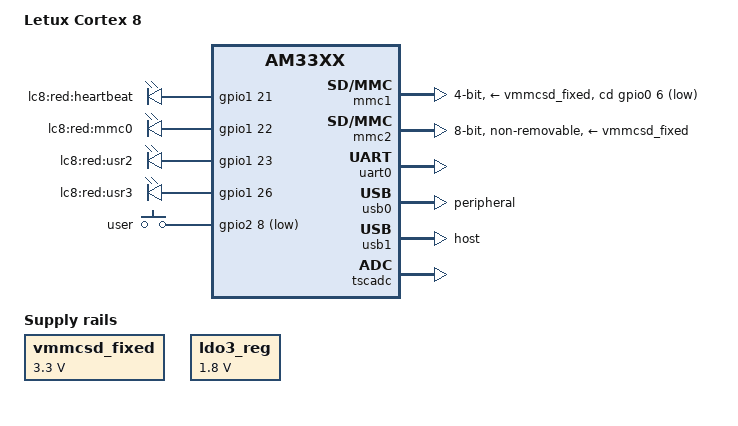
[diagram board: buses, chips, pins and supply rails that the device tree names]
/*
 * Copyright (C) 2016 H. Nikolaus Schaller <hns@goldelico.com>
 *
 * This program is free software; you can redistribute it and/or modify
 * it under the terms of the GNU General Public License version 2 as
 * published by the Free Software Foundation.
 */
/dts-v1/;

#include "am33xx.dtsi"
#include "am335x-osd335x-common.dtsi"
#include <dt-bindings/input/input.h>

/* FIXME:
 * configure external gpios, spi, uart, i2c, adc
 * configure internal buttons
 * configure internal leds
 */

/* FIXME: replace this since we have no P8/P9 connectors! */

// taken from https://github.com/RobertCNelson/dtb-linux-dev/blob/master/src/arm/

#ifndef _DT_BINDINGS_BOARD_AM335X_BBW_BBB_BASE_H
#define _DT_BINDINGS_BOARD_AM335X_BBW_BBB_BASE_H

#define BONE_P8_03 AM335X_PIN_GPMC_AD6
#define BONE_P8_04 AM335X_PIN_GPMC_AD7

#define BONE_P8_05 AM335X_PIN_GPMC_AD2
#define BONE_P8_06 AM335X_PIN_GPMC_AD3
#define BONE_P8_07 AM335X_PIN_GPMC_ADVN_ALE
#define BONE_P8_08 AM335X_PIN_GPMC_OEN_REN

#define BONE_P8_09 AM335X_PIN_GPMC_BEN0_CLE
#define BONE_P8_10 AM335X_PIN_GPMC_WEN
#define BONE_P8_11 AM335X_PIN_GPMC_AD13
#define BONE_P8_12 AM335X_PIN_GPMC_AD12

#define BONE_P8_13 AM335X_PIN_GPMC_AD9
#define BONE_P8_14 AM335X_PIN_GPMC_AD10
#define BONE_P8_15 AM335X_PIN_GPMC_AD15
#define BONE_P8_16 AM335X_PIN_GPMC_AD14

#define BONE_P8_17 AM335X_PIN_GPMC_AD11
#define BONE_P8_18 AM335X_PIN_GPMC_CLK
#define BONE_P8_19 AM335X_PIN_GPMC_AD8
#define BONE_P8_20 AM335X_PIN_GPMC_CSN2

#define BONE_P8_21 AM335X_PIN_GPMC_CSN1
#define BONE_P8_22 AM335X_PIN_GPMC_AD5
#define BONE_P8_23 AM335X_PIN_GPMC_AD4
#define BONE_P8_24 AM335X_PIN_GPMC_AD1

#define BONE_P8_25 AM335X_PIN_GPMC_AD0
#define BONE_P8_26 AM335X_PIN_GPMC_CSN0
#define BONE_P8_27 AM335X_PIN_LCD_VSYNC
#define BONE_P8_28 AM335X_PIN_LCD_PCLK

#define BONE_P8_29 AM335X_PIN_LCD_HSYNC
#define BONE_P8_30 AM335X_PIN_LCD_AC_BIAS_EN
#define BONE_P8_31 AM335X_PIN_LCD_DATA14
#define BONE_P8_32 AM335X_PIN_LCD_DATA15

#define BONE_P8_33 AM335X_PIN_LCD_DATA13
#define BONE_P8_34 AM335X_PIN_LCD_DATA11
#define BONE_P8_35 AM335X_PIN_LCD_DATA12
#define BONE_P8_36 AM335X_PIN_LCD_DATA10

#define BONE_P8_37 AM335X_PIN_LCD_DATA8
#define BONE_P8_38 AM335X_PIN_LCD_DATA9
#define BONE_P8_39 AM335X_PIN_LCD_DATA6
#define BONE_P8_40 AM335X_PIN_LCD_DATA7

#define BONE_P8_41 AM335X_PIN_LCD_DATA4
#define BONE_P8_42 AM335X_PIN_LCD_DATA5
#define BONE_P8_43 AM335X_PIN_LCD_DATA2
#define BONE_P8_44 AM335X_PIN_LCD_DATA3

#define BONE_P8_45 AM335X_PIN_LCD_DATA0
#define BONE_P8_46 AM335X_PIN_LCD_DATA1

#define BONE_P9_11 AM335X_PIN_GPMC_WAIT0
#define BONE_P9_12 AM335X_PIN_GPMC_BEN1

#define BONE_P9_13 AM335X_PIN_GPMC_WPN
#define BONE_P9_14 AM335X_PIN_GPMC_A2
#define BONE_P9_15 AM335X_PIN_GPMC_A0
#define BONE_P9_16 AM335X_PIN_GPMC_A3

#define BONE_P9_17 AM335X_PIN_SPI0_CS0
#define BONE_P9_18 AM335X_PIN_SPI0_D1
#define BONE_P9_19 AM335X_PIN_UART1_RTSN
#define BONE_P9_20 AM335X_PIN_UART1_CTSN

#define BONE_P9_21 AM335X_PIN_SPI0_D0
#define BONE_P9_22 AM335X_PIN_SPI0_SCLK
#define BONE_P9_23 AM335X_PIN_GPMC_A1
#define BONE_P9_24 AM335X_PIN_UART1_TXD

#define BONE_P9_25 AM335X_PIN_MCASP0_AHCLKX
#define BONE_P9_26 AM335X_PIN_UART1_RXD
#define BONE_P9_27 AM335X_PIN_MCASP0_FSR
#define BONE_P9_28 AM335X_PIN_MCASP0_AHCLKR

#define BONE_P9_29 AM335X_PIN_MCASP0_FSX
#define BONE_P9_30 AM335X_PIN_MCASP0_AXR0
#define BONE_P9_31 AM335X_PIN_MCASP0_ACLKX

/* Shared P21 of P11 */
#define BONE_P9_41A AM335X_PIN_XDMA_EVENT_INTR1
#define BONE_P9_41B AM335X_PIN_MCASP0_AXR1

/* Shared P22 of P11 */
#define BONE_P9_42A AM335X_PIN_ECAP0_IN_PWM0_OUT
#define BONE_P9_42B AM335X_PIN_MCASP0_ACLKR

#endif


/ {
	/* overwrite device model */
	model = "Letux Cortex 8";
	compatible = "goldelico,lc8", "octavo,osd3358", "ti,am33xx";

	chosen {
		stdout-path = &uart0;
	};

	leds {
		pinctrl-names = "default";
		pinctrl-0 = <&user_leds_s0>;

		compatible = "gpio-leds";

		led2 {
			label = "lc8:red:heartbeat";
			gpios = <&gpio1 21 GPIO_ACTIVE_HIGH>;
			linux,default-trigger = "heartbeat";
			default-state = "off";
		};

		led3 {
			label = "lc8:red:mmc0";
			gpios = <&gpio1 22 GPIO_ACTIVE_HIGH>;
			linux,default-trigger = "mmc0";
			default-state = "off";
		};

		led4 {
			label = "lc8:red:usr2";
			gpios = <&gpio1 23 GPIO_ACTIVE_HIGH>;
			linux,default-trigger = "cpu0";
			default-state = "off";
		};

		led5 {
			label = "lc8:red:usr3";
			gpios = <&gpio1 26 GPIO_ACTIVE_HIGH>;
			linux,default-trigger = "mmc1";
			default-state = "off";
		};
	};

	vmmcsd_fixed: fixedregulator0 {
		compatible = "regulator-fixed";
		regulator-name = "vmmcsd_fixed";
		regulator-min-microvolt = <3300000>;
		regulator-max-microvolt = <3300000>;
	};

	gpio-keys {
		compatible = "gpio-keys";

		pinctrl-names = "default";
		pinctrl-0 = <&button_pins>;

		user-button {
			label = "user";
			linux,code = <KEY_ENTER>;
			gpios = <&gpio2 8 GPIO_ACTIVE_LOW>;
			gpio-key,wakeup;
		};

	};

};

&am33xx_pinmux {

	button_pins: pinmux_button_pins {
		pinctrl-single,pins = <
			AM33XX_PADCONF(0x0a8, PIN_INPUT_PULLUP, MUX_MODE7)	/* KEY_ENTER lcd_data2.gpio2_8, */
		>;
	};

	emmc_pins: pinmux_emmc_pins {
		pinctrl-single,pins = <
			AM33XX_PADCONF(AM335X_PIN_GPMC_CSN1, PIN_INPUT_PULLUP, MUX_MODE2) /* gpmc_csn1.mmc1_clk */
			AM33XX_PADCONF(AM335X_PIN_GPMC_CSN2, PIN_INPUT_PULLUP, MUX_MODE2) /* gpmc_csn2.mmc1_cmd */
			AM33XX_PADCONF(AM335X_PIN_GPMC_AD0, PIN_INPUT_PULLUP, MUX_MODE1) /* gpmc_ad0.mmc1_dat0 */
			AM33XX_PADCONF(AM335X_PIN_GPMC_AD1, PIN_INPUT_PULLUP, MUX_MODE1) /* gpmc_ad1.mmc1_dat1 */
			AM33XX_PADCONF(AM335X_PIN_GPMC_AD2, PIN_INPUT_PULLUP, MUX_MODE1) /* gpmc_ad2.mmc1_dat2 */
			AM33XX_PADCONF(AM335X_PIN_GPMC_AD3, PIN_INPUT_PULLUP, MUX_MODE1) /* gpmc_ad3.mmc1_dat3 */
			AM33XX_PADCONF(AM335X_PIN_GPMC_AD4, PIN_INPUT_PULLUP, MUX_MODE1) /* gpmc_ad4.mmc1_dat4 */
			AM33XX_PADCONF(AM335X_PIN_GPMC_AD5, PIN_INPUT_PULLUP, MUX_MODE1) /* gpmc_ad5.mmc1_dat5 */
			AM33XX_PADCONF(AM335X_PIN_GPMC_AD6, PIN_INPUT_PULLUP, MUX_MODE1) /* gpmc_ad6.mmc1_dat6 */
			AM33XX_PADCONF(AM335X_PIN_GPMC_AD7, PIN_INPUT_PULLUP, MUX_MODE1) /* gpmc_ad7.mmc1_dat7 */
		>;
	};

	i2c1_pins: pinmux_i2c1_pins {
		pinctrl-single,pins = <
			AM33XX_PADCONF(AM335X_PIN_MII1_RX_ER, PIN_INPUT_PULLUP, MUX_MODE3)	// I2C1 SCL
			AM33XX_PADCONF(AM335X_PIN_MII1_CRS, PIN_INPUT_PULLUP, MUX_MODE3)	// I2C1 SDA
		>;
	};

	i2c2_pins: pinmux_i2c2_pins {
		pinctrl-single,pins = <
			AM33XX_PADCONF(BONE_P9_21, PIN_INPUT_PULLUP, MUX_MODE2)	// I2C2 SCL
			AM33XX_PADCONF(BONE_P9_22, PIN_INPUT_PULLUP, MUX_MODE2)	// I2C2 SDA
		>;
	};

	mmc1_pins: pinmux_mmc1_pins {
		pinctrl-single,pins = <
			AM33XX_PADCONF(AM335X_PIN_SPI0_CS1, PIN_INPUT, MUX_MODE7)		/* spio0_cs1.gpio0_6 */
			AM33XX_PADCONF(AM335X_PIN_MMC0_DAT0, PIN_INPUT_PULLUP, MUX_MODE0)
			AM33XX_PADCONF(AM335X_PIN_MMC0_DAT1, PIN_INPUT_PULLUP, MUX_MODE0)
			AM33XX_PADCONF(AM335X_PIN_MMC0_DAT2, PIN_INPUT_PULLUP, MUX_MODE0)
			AM33XX_PADCONF(AM335X_PIN_MMC0_DAT3, PIN_INPUT_PULLUP, MUX_MODE0)
			AM33XX_PADCONF(AM335X_PIN_MMC0_CMD, PIN_INPUT_PULLUP, MUX_MODE0)
			AM33XX_PADCONF(AM335X_PIN_MMC0_CLK, PIN_INPUT_PULLUP, MUX_MODE0)
		>;
	};

	uart0_pins: pinmux_uart0_pins {
		pinctrl-single,pins = <
			AM33XX_PADCONF(AM335X_PIN_UART0_RXD, PIN_INPUT_PULLUP, MUX_MODE0)
			AM33XX_PADCONF(AM335X_PIN_UART0_TXD, PIN_OUTPUT_PULLDOWN, MUX_MODE0)
		>;
	};

	user_leds_s0: user_leds_s0 {
		pinctrl-single,pins = <
			AM33XX_PADCONF(AM335X_PIN_GPMC_A5, PIN_OUTPUT_PULLDOWN, MUX_MODE7)	/* gpmc_a5.gpio1_21 */
			AM33XX_PADCONF(AM335X_PIN_GPMC_A6, PIN_OUTPUT_PULLUP, MUX_MODE7)	/* gpmc_a6.gpio1_22 */
			AM33XX_PADCONF(AM335X_PIN_GPMC_A7, PIN_OUTPUT_PULLDOWN, MUX_MODE7)	/* gpmc_a7.gpio1_23 */
			AM33XX_PADCONF(AM335X_PIN_GPMC_A10, PIN_OUTPUT_PULLUP, MUX_MODE7)	/* gpmc_a10.gpio1_26 */
		>;
	};
};

&i2c1 {
	pinctrl-names = "default";
	pinctrl-0 = <&i2c1_pins>;

	status = "disabled";
	clock-frequency = <400000>;
};

&i2c2 {
	pinctrl-names = "default";
	pinctrl-0 = <&i2c2_pins>;

	status = "disabled";
	clock-frequency = <400000>;
};

/* usually, we have no display connected */
&lcdc {
	status = "disabled";
};

&ldo3_reg {
	regulator-min-microvolt = <1800000>;
	regulator-max-microvolt = <1800000>;
	regulator-always-on;
};

/* no ethernet */
&mac {
	status = "disabled";
};

&mmc1 {
	vmmc-supply = <&vmmcsd_fixed>;
	pinctrl-names = "default";
	pinctrl-0 = <&mmc1_pins>;
	bus-width = <0x4>;
	status = "okay";
	cd-gpios = <&gpio0 6 GPIO_ACTIVE_LOW>;
};

&mmc2 {
	vmmc-supply = <&vmmcsd_fixed>;
	pinctrl-names = "default";
	pinctrl-0 = <&emmc_pins>;
	bus-width = <8>;
	status = "okay";
	non-removable;
};

&rtc {
	clocks = <&clk_32768_ck>, <&clk_24mhz_clkctrl AM3_CLK_24MHZ_CLKDIV32K_CLKCTRL 0>;
	clock-names = "ext-clk", "int-clk";
	system-power-controller;
};

&uart0 {
	pinctrl-names = "default";
	pinctrl-0 = <&uart0_pins>;

	status = "okay";
};

&usb0 {
	dr_mode = "peripheral";
	interrupts-extended = <&intc 18 &tps 0>;
	interrupt-names = "mc", "vbus";
};

&usb1 {
	dr_mode = "host";
};

/* allow full poweroff */

&tps {
	/delete-property/ ti,pmic-shutdown-controller;
};

/* no touch screen but 3 ADC channels */
&tscadc {
	status = "okay";

	adc {
		ti,adc-channels = <0 1 2>;
	};
};
